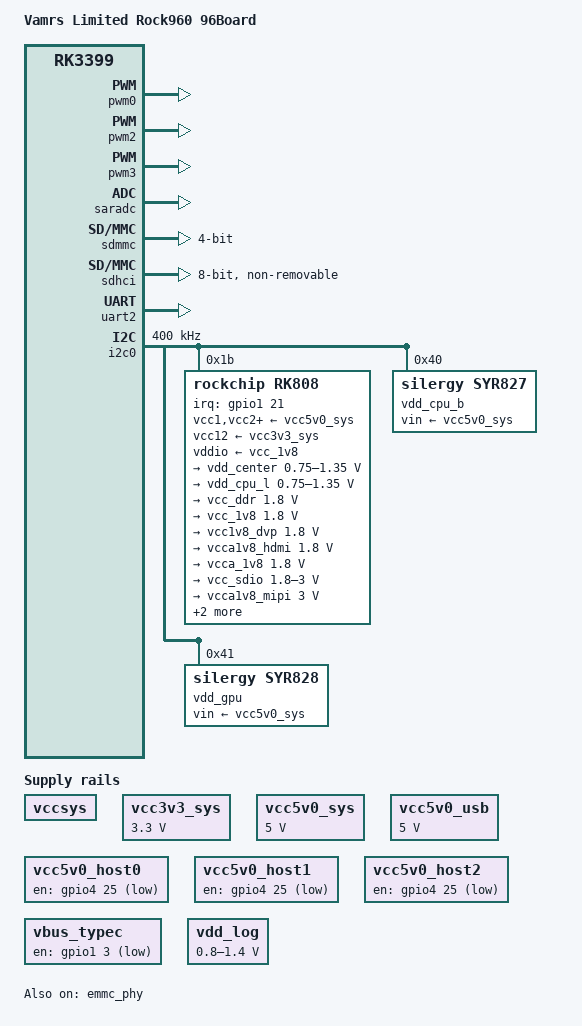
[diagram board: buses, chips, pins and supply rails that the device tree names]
// SPDX-License-Identifier: GPL-2.0+
/*
 * Copyright (C) 2018 Manivannan Sadhasivam <manivannan.sadhasivam@linaro.org>
 */

/dts-v1/;
#include <dt-bindings/pwm/pwm.h>
#include <dt-bindings/pinctrl/rockchip.h>
#include "rk3399.dtsi"
#include "rk3399-sdram-lpddr3-4GB-1600.dtsi"

/ {
	model = "Vamrs Limited Rock960 96Board";
	compatible = "rockchip,rk3399-rock960", "rockchip,rk3399";

	chosen {
		stdout-path = &uart2;
		u-boot,spl-boot-order = \
			&sdhci, &sdmmc;
	};

	vccsys: vccsys {
		compatible = "regulator-fixed";
		regulator-name = "vccsys";
		regulator-boot-on;
		regulator-always-on;
	};

	vcc3v3_sys: vcc3v3-sys {
		compatible = "regulator-fixed";
		regulator-name = "vcc3v3_sys";
		regulator-always-on;
		regulator-boot-on;
		regulator-min-microvolt = <3300000>;
		regulator-max-microvolt = <3300000>;
	};

	vcc5v0_sys: vcc5v0-sys {
		compatible = "regulator-fixed";
		regulator-name = "vcc5v0_sys";
		regulator-always-on;
		regulator-boot-on;
		regulator-min-microvolt = <5000000>;
		regulator-max-microvolt = <5000000>;
	};

	vcc5v0_usb: vcc5v0-usb {
		compatible = "regulator-fixed";
		regulator-name = "vcc5v0_usb";
		regulator-always-on;
		regulator-boot-on;
		regulator-min-microvolt = <5000000>;
		regulator-max-microvolt = <5000000>;
	};

	vcc5v0_host0: vcc5v0-host0-regulator {
		compatible = "regulator-fixed";
		regulator-name = "vcc5v0_host0";
		gpio = <&gpio4 25 GPIO_ACTIVE_HIGH>;
	};

	vcc5v0_host1: vcc5v0-host1-regulator {
		compatible = "regulator-fixed";
		regulator-name = "vcc5v0_host1";
		gpio = <&gpio4 25 GPIO_ACTIVE_HIGH>;
	};

	vcc5v0_host2: vcc5v0-host2-regulator {
		compatible = "regulator-fixed";
		regulator-name = "vcc5v0_host2";
		gpio = <&gpio4 25 GPIO_ACTIVE_HIGH>;
	};

	vbus_typec: vbus-typec-regulator {
		compatible = "regulator-fixed";
		regulator-name = "vbus_typec";
		gpio = <&gpio1 3 GPIO_ACTIVE_HIGH>;
	};

	vdd_log: vdd-log {
		compatible = "pwm-regulator";
		pwms = <&pwm2 0 25000 1>;
		regulator-name = "vdd_log";
		regulator-always-on;
		regulator-boot-on;
		regulator-min-microvolt = <800000>;
		regulator-max-microvolt = <1400000>;
		regulator-init-microvolt = <900000>;
	};
};

&emmc_phy {
	status = "okay";
};

&pwm0 {
	status = "okay";
};

&pwm2 {
	status = "okay";
};

&pwm3 {
	status = "okay";
};

&saradc {
	status = "okay";
};

&sdmmc {
	u-boot,dm-pre-reloc;
	bus-width = <4>;
	status = "okay";
};

&sdhci {
	bus-width = <8>;
	mmc-hs400-1_8v;
	mmc-hs400-enhanced-strobe;
	non-removable;
	status = "okay";
};

&uart2 {
	status = "okay";
};

&i2c0 {
	status = "okay";
	clock-frequency = <400000>;
	i2c-scl-falling-time-ns = <50>;
	i2c-scl-rising-time-ns = <100>;
	u-boot,dm-pre-reloc;

	rk808: pmic@1b {
		compatible = "rockchip,rk808";
		reg = <0x1b>;
		interrupt-parent = <&gpio1>;
		interrupts = <21 IRQ_TYPE_LEVEL_LOW>;
		#clock-cells = <1>;
		clock-output-names = "rtc_clko_soc", "rtc_clko_wifi";
		pinctrl-names = "default";
		pinctrl-0 = <&pmic_int_l>;
		rockchip,system-power-controller;
		wakeup-source;

		vcc1-supply = <&vcc5v0_sys>;
		vcc2-supply = <&vcc5v0_sys>;
		vcc3-supply = <&vcc5v0_sys>;
		vcc4-supply = <&vcc5v0_sys>;
		vcc6-supply = <&vcc5v0_sys>;
		vcc7-supply = <&vcc5v0_sys>;
		vcc8-supply = <&vcc5v0_sys>;
		vcc9-supply = <&vcc5v0_sys>;
		vcc10-supply = <&vcc5v0_sys>;
		vcc11-supply = <&vcc5v0_sys>;
		vcc12-supply = <&vcc3v3_sys>;
		vcc13-supply = <&vcc5v0_sys>;
		vcc14-supply = <&vcc5v0_sys>;
		vddio-supply = <&vcc_1v8>;

		regulators {
			vdd_center: DCDC_REG1 {
				regulator-name = "vdd_center";
				regulator-always-on;
				regulator-boot-on;
				regulator-min-microvolt = <750000>;
				regulator-max-microvolt = <1350000>;
				regulator-ramp-delay = <6001>;
				regulator-state-mem {
					regulator-off-in-suspend;
				};
			};

			vdd_cpu_l: DCDC_REG2 {
				regulator-name = "vdd_cpu_l";
				regulator-always-on;
				regulator-boot-on;
				regulator-min-microvolt = <750000>;
				regulator-max-microvolt = <1350000>;
				regulator-ramp-delay = <6001>;
				regulator-state-mem {
					regulator-off-in-suspend;
				};
			};

			vcc_ddr: DCDC_REG3 {
				regulator-name = "vcc_ddr";
				regulator-always-on;
				regulator-boot-on;
				regulator-min-microvolt = <1800000>;
				regulator-max-microvolt = <1800000>;
				regulator-state-mem {
					regulator-on-in-suspend;
				};
			};

			vcc_1v8: DCDC_REG4 {
				regulator-name = "vcc_1v8";
				regulator-always-on;
				regulator-boot-on;
				regulator-min-microvolt = <1800000>;
				regulator-max-microvolt = <1800000>;
				regulator-state-mem {
					regulator-on-in-suspend;
					regulator-suspend-microvolt = <1800000>;
				};
			};

			vcc1v8_dvp: LDO_REG1 {
				regulator-name = "vcc1v8_dvp";
				regulator-always-on;
				regulator-boot-on;
				regulator-min-microvolt = <1800000>;
				regulator-max-microvolt = <1800000>;
				regulator-state-mem {
					regulator-off-in-suspend;
				};
			};

			vcca1v8_hdmi: LDO_REG2 {
				regulator-name = "vcca1v8_hdmi";
				regulator-always-on;
				regulator-boot-on;
				regulator-min-microvolt = <1800000>;
				regulator-max-microvolt = <1800000>;
				regulator-state-mem {
					regulator-off-in-suspend;
				};
			};

			vcca_1v8: LDO_REG3 {
				regulator-name = "vcca_1v8";
				regulator-always-on;
				regulator-boot-on;
				regulator-min-microvolt = <1800000>;
				regulator-max-microvolt = <1800000>;
				regulator-state-mem {
					regulator-on-in-suspend;
					regulator-suspend-microvolt = <1800000>;
				};
			};

			vcc_sdio: LDO_REG4 {
				regulator-name = "vcc_sdio";
				regulator-always-on;
				regulator-boot-on;
				regulator-min-microvolt = <1800000>;
				regulator-max-microvolt = <3000000>;
				regulator-state-mem {
					regulator-on-in-suspend;
					regulator-suspend-microvolt = <3000000>;
				};
			};

			vcca1v8_mipi: LDO_REG5 {
				regulator-name = "vcca1v8_mipi";
				regulator-always-on;
				regulator-boot-on;
				regulator-min-microvolt = <3000000>;
				regulator-max-microvolt = <3000000>;
				regulator-state-mem {
					regulator-off-in-suspend;
				};
			};

			vcc_1v5: LDO_REG6 {
				regulator-name = "vcc_1v5";
				regulator-always-on;
				regulator-boot-on;
				regulator-min-microvolt = <1500000>;
				regulator-max-microvolt = <1500000>;
				regulator-state-mem {
					regulator-on-in-suspend;
					regulator-suspend-microvolt = <1500000>;
				};
			};

			vcca0v9_hdmi: LDO_REG7 {
				regulator-name = "vcca0v9_hdmi";
				regulator-always-on;
				regulator-boot-on;
				regulator-min-microvolt = <900000>;
				regulator-max-microvolt = <900000>;
				regulator-state-mem {
					regulator-off-in-suspend;
				};
			};

			vcc_3v0: LDO_REG8 {
				regulator-name = "vcc_3v0";
				regulator-always-on;
				regulator-boot-on;
				regulator-min-microvolt = <3000000>;
				regulator-max-microvolt = <3000000>;
				regulator-state-mem {
					regulator-on-in-suspend;
					regulator-suspend-microvolt = <3000000>;
				};
			};
		};
	};

	vdd_cpu_b: regulator@40 {
		compatible = "silergy,syr827";
		reg = <0x40>;
		fcs,suspend-voltage-selector = <0>;
		regulator-name = "vdd_cpu_b";
		regulator-min-microvolt = <712500>;
		regulator-max-microvolt = <1500000>;
		regulator-ramp-delay = <1000>;
		regulator-always-on;
		regulator-boot-on;
		vin-supply = <&vcc5v0_sys>;

		regulator-state-mem {
			regulator-off-in-suspend;
		};
	};

	vdd_gpu: regulator@41 {
		compatible = "silergy,syr828";
		reg = <0x41>;
		fcs,suspend-voltage-selector = <1>;
		regulator-name = "vdd_gpu";
		regulator-min-microvolt = <712500>;
		regulator-max-microvolt = <1500000>;
		regulator-ramp-delay = <1000>;
		regulator-always-on;
		regulator-boot-on;
		vin-supply = <&vcc5v0_sys>;

		regulator-state-mem {
			regulator-off-in-suspend;
		};
	};
};

&pinctrl {
	pmic {
		pmic_int_l: pmic-int-l {
			rockchip,pins =
				<1 21 RK_FUNC_GPIO &pcfg_pull_up>;
		};
	};
};
